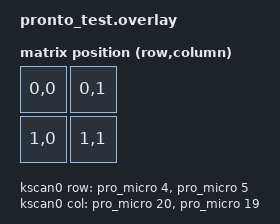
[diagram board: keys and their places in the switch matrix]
#include <dt-bindings/zmk/matrix_transform.h>

/ {
    chosen {
        zmk,physical-layout = &physical_layout0;
    };



    physical_layout0: physical_layout_0 {
        compatible = "zmk,physical-layout";
        display-name = "Default Layout";
        kscan = <&kscan0>;
        transform = <&default_transform>;
    };

    

    default_transform: keymap_transform0 {
        compatible = "zmk,matrix-transform";
        columns = <2>;
        rows = <2>;
        map = <
            RC(0,0) RC(0,1)
            RC(1,0) RC(1,1)
            >;
    };

    kscan0: kscan0 {
        compatible = "zmk,kscan-gpio-matrix";
        wakeup-source;
        diode-direction = "col2row";
        col-gpios
            = <&pro_micro 20 GPIO_ACTIVE_LOW>
            , <&pro_micro 19 GPIO_ACTIVE_LOW>
            ;

        row-gpios
            = <&pro_micro 4 (GPIO_ACTIVE_LOW | GPIO_PULL_UP)>
            , <&pro_micro 5 (GPIO_ACTIVE_LOW | GPIO_PULL_UP)>
            ;
    };

};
